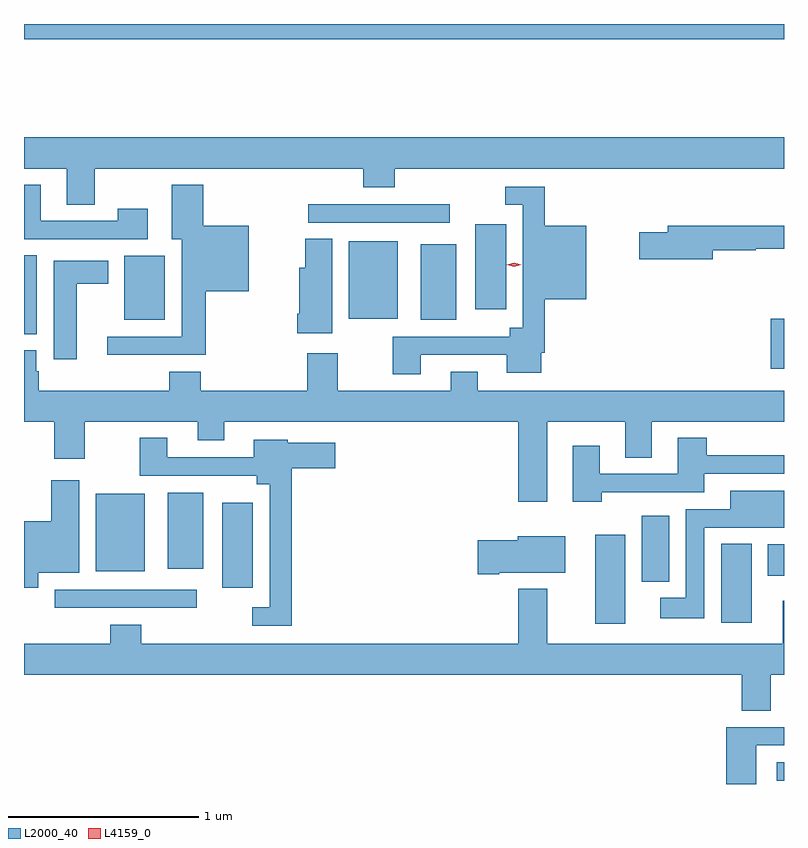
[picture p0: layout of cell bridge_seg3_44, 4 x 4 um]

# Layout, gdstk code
import gdstk
lib = gdstk.Library(unit=1e-6, precision=1e-09)
def R(c, l, rs):  # rectangles x0, y0, x1, y1
    for r in rs: c.add(gdstk.rectangle(r[:2], r[2:], *l))
def P(c, l, *ps):  # polygons
    for p in ps: c.add(gdstk.Polygon(p, *l))
L2000_40 = (2000, 40)
L4159_0 = (4159, 0)

bridge_seg3_44 = lib.new_cell('bridge_seg3_44')
R(bridge_seg3_44, L2000_40, [(701.967,693.699,702.006,693.795), (701.012,694.524,701.17,694.993), (701.675,694.53,701.836,694.945), (698.169,694.608,698.914,694.704), (699.05,694.713,699.211,695.161), (701.258,694.745,701.401,695.092), (701.921,694.778,702.006,694.942), (698.384,694.802,698.641,695.209), (698.762,694.814,698.95,695.215), (701.936,695.867,702.006,696.13), (698.006,696.049,698.074,696.464), (698.534,696.125,698.746,696.46), (700.094,696.125,700.282,696.523), (699.716,696.131,699.973,696.538), (700.382,696.18,700.543,696.628), (699.501,696.636,700.246,696.732), (698.006,697.6,702.006,697.681)])
P(bridge_seg3_44, L2000_40, [(698.379,696.92),(699.791,696.92),(699.791,696.821),(699.956,696.821),(699.956,696.92),(702.006,696.92),(702.006,697.084),(698.006,697.084),(698.006,696.92),(698.231,696.92),(698.231,696.73),(698.379,696.73)],
  [(698.656,696.709),(698.5,696.709),(698.5,696.645),(698.095,696.645),(698.095,696.835),(698.006,696.835),(698.006,696.549),(698.656,696.549)],
  [(698.963,696.275),(699.19,696.275),(699.19,696.619),(698.95,696.619),(698.95,696.835),(698.783,696.835),(698.783,696.548),(698.837,696.548),(698.837,696.036),(698.445,696.036),(698.445,695.939),(698.963,695.939)],
  [(700.093,695.94),(700.547,695.94),(700.547,695.846),(700.729,695.846),(700.729,695.95),(700.748,695.95),(700.748,696.233),(700.966,696.233),(700.966,696.619),(700.748,696.619),(700.748,696.825),(700.539,696.825),(700.539,696.729),(700.631,696.729),(700.631,696.337),(700.632,696.337),(700.632,696.082),(700.562,696.082),(700.562,696.036),(699.946,696.036),(699.946,695.838),(700.093,695.838)],
  [(701.632,696.49),(701.858,696.49),(701.858,696.498),(702.006,696.498),(702.006,696.619),(701.393,696.619),(701.393,696.585),(701.244,696.585),(701.244,696.443),(701.632,696.443)],
  [(699.628,696.551),(699.487,696.551),(699.487,696.397),(699.455,696.397),(699.455,696.157),(699.443,696.157),(699.443,696.053),(699.628,696.053)],
  [(698.284,696.314),(698.449,696.314),(698.449,696.436),(698.162,696.436),(698.162,695.916),(698.284,695.916)],
  [(700.759,695.588),(701.171,695.588),(701.171,695.398),(701.311,695.398),(701.311,695.588),(702.006,695.588),(702.006,695.752),(700.393,695.752),(700.393,695.851),(700.253,695.851),(700.253,695.752),(699.657,695.752),(699.657,695.947),(699.497,695.947),(699.497,695.752),(698.936,695.752),(698.936,695.851),(698.771,695.851),(698.771,695.752),(698.084,695.752),(698.084,695.853),(698.071,695.853),(698.071,695.964),(698.006,695.964),(698.006,695.588),(698.165,695.588),(698.165,695.394),(698.325,695.394),(698.325,695.588),(698.921,695.588),(698.921,695.489),(699.061,695.489),(699.061,695.588),(700.607,695.588),(700.607,695.166),(700.759,695.166)],
  [(701.048,695.217),(701.587,695.217),(701.587,695.313),(702.006,695.313),(702.006,695.41),(701.6,695.41),(701.6,695.503),(701.447,695.503),(701.447,695.313),(701.035,695.313),(701.035,695.461),(700.895,695.461),(700.895,695.166),(701.048,695.166)],
  [(699.416,695.342),(699.643,695.342),(699.643,695.476),(699.393,695.476),(699.393,695.494),(699.215,695.494),(699.215,695.4),(698.761,695.4),(698.761,695.503),(698.614,695.503),(698.614,695.304),(699.23,695.304),(699.23,695.258),(699.3,695.258),(699.3,694.611),(699.207,694.611),(699.207,694.515),(699.416,694.515)],
  [(698.08,694.793),(698.296,694.793),(698.296,695.281),(698.15,695.281),(698.15,695.065),(698.006,695.065),(698.006,694.713),(698.08,694.713)],
  [(701.586,695.031),(701.832,695.031),(701.832,695.03),(702.006,695.03),(702.006,695.224),(701.723,695.224),(701.723,695.127),(701.49,695.127),(701.49,694.66),(701.355,694.66),(701.355,694.553),(701.586,694.553)],
  [(700.507,694.793),(700.855,694.793),(700.855,694.984),(700.604,694.984),(700.604,694.964),(700.395,694.964),(700.395,694.786),(700.507,694.786)],
  [(701.935,694.256),(702.006,694.256),(702.006,694.645),(701.999,694.645),(701.999,694.42),(700.759,694.42),(700.759,694.708),(700.607,694.708),(700.607,694.42),(698.624,694.42),(698.624,694.519),(698.459,694.519),(698.459,694.42),(698.006,694.42),(698.006,694.256),(701.783,694.256),(701.783,694.066),(701.935,694.066)],
  [(701.86,693.885),(702.006,693.885),(702.006,693.981),(701.702,693.981),(701.702,693.681),(701.86,693.681)])
P(bridge_seg3_44, L4159_0, [(700.586,696.404),(700.548,696.413),(700.548,696.414),(700.548,696.414),(700.586,696.424),(700.624,696.414),(700.624,696.414),(700.624,696.414)])

lib.write_gds('bridge_seg3_44.gds')
